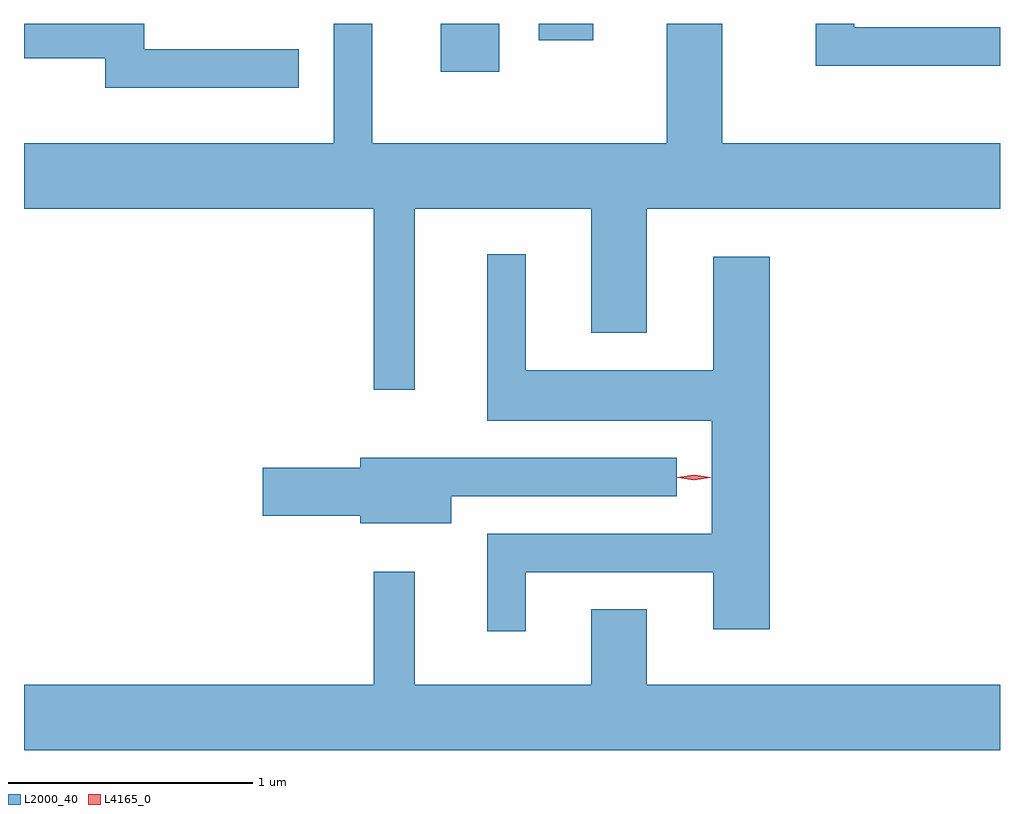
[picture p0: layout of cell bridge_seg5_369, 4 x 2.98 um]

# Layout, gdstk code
import gdstk
lib = gdstk.Library(unit=1e-6, precision=1e-09)
def R(c, l, rs):  # rectangles x0, y0, x1, y1
    for r in rs: c.add(gdstk.rectangle(r[:2], r[2:], *l))
def P(c, l, *ps):  # polygons
    for p in ps: c.add(gdstk.Polygon(p, *l))
L2000_40 = (2000, 40)
L4165_0 = (4165, 0)

bridge_seg5_369 = lib.new_cell('bridge_seg5_369')
R(bridge_seg5_369, L2000_40, [(578.596,1492.876,578.834,1493.073), (578.996,1493.006,579.219,1493.073)])
P(bridge_seg5_369, L2000_40, [(578.489,1492.316),(579.211,1492.316),(579.211,1491.806),(579.439,1491.806),(579.439,1492.316),(580.887,1492.316),(580.887,1492.584),(579.749,1492.584),(579.749,1493.073),(579.521,1493.073),(579.521,1492.584),(578.314,1492.584),(578.314,1493.073),(578.156,1493.073),(578.156,1492.584),(576.887,1492.584),(576.887,1492.316),(578.321,1492.316),(578.321,1491.573),(578.489,1491.573)],
  [(578.013,1492.969),(577.379,1492.969),(577.379,1493.073),(576.887,1493.073),(576.887,1492.931),(577.221,1492.931),(577.221,1492.811),(578.013,1492.811)],
  [(580.887,1493.059),(580.289,1493.059),(580.289,1493.073),(580.131,1493.073),(580.131,1492.901),(580.887,1492.901)],
  [(578.944,1490.826),(579.711,1490.826),(579.711,1490.591),(579.944,1490.591),(579.944,1492.119),(579.711,1492.119),(579.711,1491.654),(578.944,1491.654),(578.944,1492.128),(578.786,1492.128),(578.786,1491.446),(579.706,1491.446),(579.706,1490.984),(578.786,1490.984),(578.786,1490.583),(578.944,1490.583)],
  [(578.639,1491.136),(579.563,1491.136),(579.563,1491.294),(578.266,1491.294),(578.266,1491.254),(577.866,1491.254),(577.866,1491.056),(578.266,1491.056),(578.266,1491.026),(578.639,1491.026)],
  [(580.887,1490.364),(579.439,1490.364),(579.439,1490.674),(579.211,1490.674),(579.211,1490.364),(578.489,1490.364),(578.489,1490.828),(578.321,1490.828),(578.321,1490.364),(576.887,1490.364),(576.887,1490.096),(580.887,1490.096)])
P(bridge_seg5_369, L4165_0, [(579.633,1491.205),(579.564,1491.214),(579.563,1491.215),(579.564,1491.215),(579.633,1491.225),(579.702,1491.215),(579.702,1491.215),(579.702,1491.214)],
  [(579.633,1491.203),(579.567,1491.212),(579.567,1491.213),(579.567,1491.213),(579.633,1491.223),(579.699,1491.213),(579.7,1491.213),(579.699,1491.212)])

lib.write_gds('bridge_seg5_369.gds')
